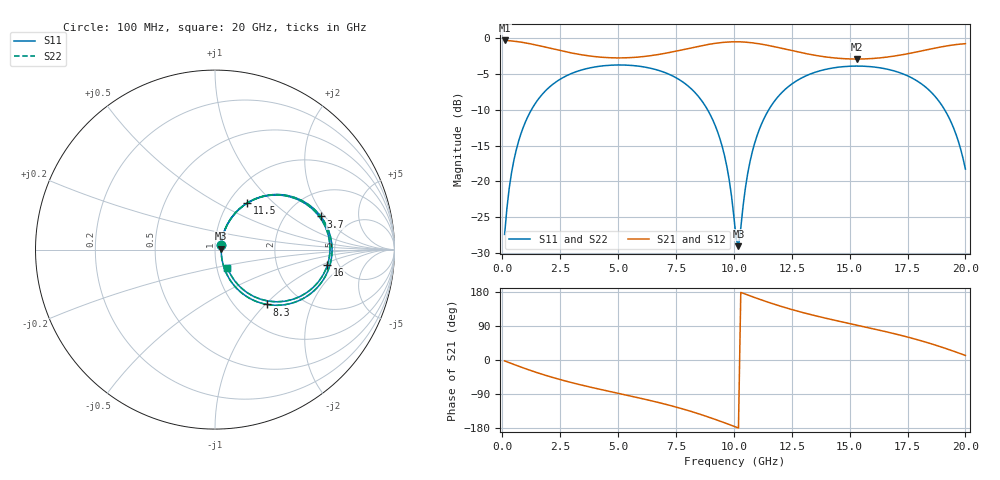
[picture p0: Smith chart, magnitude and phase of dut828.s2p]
! Touchstone file exported from HFSS 2026.1.0
!  File:  C:/ffzhzh/LocalFiles/Ansys_Project_Files/temp_train_TSV_RDL_828_1783266451_5512.aedt
!  Generated:  12:05:16 AM Jul  6, 2026
!  Design:  TSV_RDL
!  Project:  temp_train_TSV_RDL_828_1783266451_5512
! Variables:
!  h_bsmrdl = 2.66um
!  h_ox = 20um
!  h_rdl = 5um
!  h_sub = 65.63um
!  h_tmrdl = 5.11um
!  h_tsv = 65.63um
!  h_via = 3um
!  l_bsmrdl = 729.83um
!  l_sub = 6191.38um
!  l_tmrdl = 874.98um
!  m_sub = 200um
!  pitch = 55.79um
!  r_tsv = 7.63um
!  s_tmrdl = 10um
!  w_bsmrdl = 17.43um
!  w_sub = 500um
!  w_tmrdl = 16.56um
!  x_tsv_center1 = 883.26um
!  x_tsv_center2 = 1630.52um
!  x_tsv_center3 = 2522.06um
!  x_tsv_center4 = 3269.32um
!  x_tsv_center5 = 4160.86um
!  x_tsv_center6 = 4908.12um
# GHz S MA R 50.000000
! Terminal data exported
! Port[1] = TM_RDL1_1_T1
! Port[2] = TM_RDL5_1_T1
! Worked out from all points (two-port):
!   200 points, 100 MHz to 20 GHz, reference 50 ohm
!   highest |S21| = -0.28 dB at 100 MHz (marker M1); lowest = -2.9 dB at 15.3 GHz (marker M2)
!   |S21| within 3 dB of the highest: start of sweep to end of sweep
!   lowest |S11| = -29.1 dB at 10.2 GHz (marker M3), VSWR 1.07, Z = 53.6 + j0.635 ohm
!   |S11| at or under -10 dB: start of sweep to 1.256 GHz; 8.868 GHz to 11.5 GHz (2.636 GHz wide, 25.9 % of centre); 19.11 GHz to end of sweep
!   |S22| runs from -29.2 to -3.7 dB; largest |S21 - S12| = 1.6e-14
!   S11 on the Smith chart (normalised r, x): 100 MHz: 1.07, +0.06; 3.7 GHz: 3.05, +1.82; 8.3 GHz: 1.38, -1.02; 11.5 GHz: 1.22, +0.70; 16 GHz: 4.09, -1.16; 20 GHz: 1.12, -0.23
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0.1  0.04252 39.5  0.9679 -2.4  0.9679 -2.4  0.04252 39.5
! Gamma 0 0 0 0
! Port Impedance 50 0 50 0
0.5  0.1403 64.1  0.9565 -11.8  0.9565 -11.8  0.1403 64.1
1.1  0.283 57.8  0.9244 -25.0  0.9244 -25.0  0.283 57.8
2.2  0.4802 39.6  0.8438 -46.5  0.8438 -46.5  0.4802 39.6
3.5  0.6065 20.1  0.7649 -67.3  0.7649 -67.3  0.6065 20.1
3.7  0.6179 17.4  0.7566 -70.1  0.7566 -70.1  0.6179 17.4
5.3  0.6511 -3.3  0.7316 -91.9  0.7316 -91.9  0.6511 -3.3
6.8  0.5942 -23.2  0.7747 -113.0  0.7747 -113.0  0.5942 -23.2
8.3  0.4218 -46.5  0.8688 -138.4  0.8688 -138.4  0.4218 -46.5
9.5  0.1747 -64.1  0.937 -163.5  0.937 -163.5  0.1746 -64.2
9.8  0.1024 -62.3  0.9449 -170.3  0.9449 -170.3  0.1023 -62.5
10.1  0.03963 -27.9  0.9473 -177.1  0.9473 -177.1  0.03929 -28.2
10.2  0.03519 9.7  0.9469 -179.4  0.9469 -179.4  0.03479 9.8
10.7  0.1378 63.5  0.9357 169.3  0.9357 169.3  0.1376 63.7
11.5  0.3155 55.1  0.8926 152.1  0.8926 152.1  0.3155 55.2
13.4  0.5715 25.8  0.7674 118.6  0.7674 118.6  0.5715 25.8
15.3  0.6407 1.1  0.7175 92.1  0.7175 92.1  0.6406 1.1
16  0.6323 -7.7  0.724 82.6  0.724 82.6  0.6323 -7.6
16.7  0.6055 -16.8  0.7436 72.8  0.7436 72.8  0.6054 -16.7
18.8  0.3739 -47.5  0.8627 37.5  0.8627 37.5  0.3739 -47.4
19.5  0.2341 -56.8  0.9019 23.0  0.9019 23.0  0.2341 -56.7
20  0.1219 -55.5  0.9189 12.0  0.9189 12.0  0.122 -55.3
